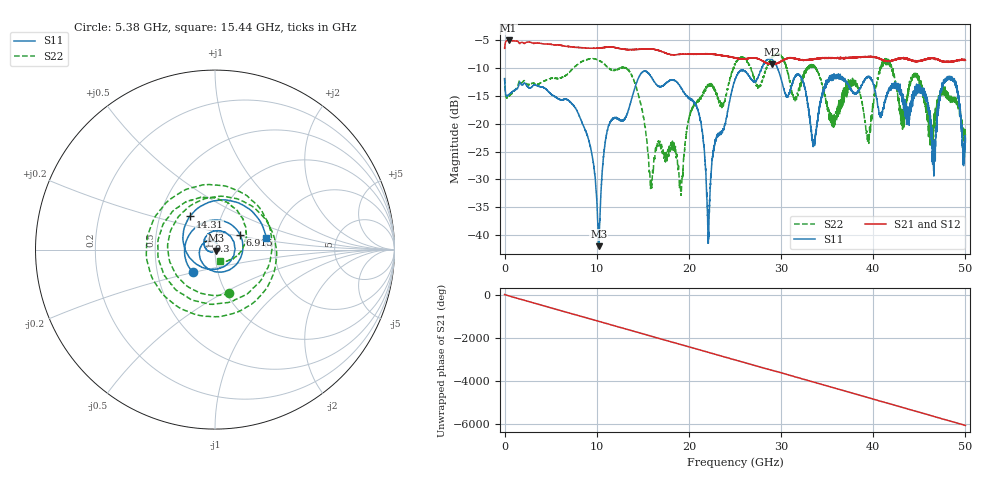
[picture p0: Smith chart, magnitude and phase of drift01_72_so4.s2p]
!Created with skrf (http://scikit-rf.org).
# Hz S RI R 50.0
!freq ReS11 ImS11 ReS21 ImS21 ReS12 ImS12 ReS22 ImS22
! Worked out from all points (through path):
!   10001 points, 300 kHz to 50 GHz, reference 50 ohm
!   highest |S21| = -5.05 dB at 425.3 MHz (marker M1); lowest = -9.4 dB at 29.03 GHz (marker M2)
!   group delay of S21, straight-line fit = 336 ps
!   lowest |S11| = -42.0 dB at 10.23 GHz (marker M3), VSWR 1.02, Z = 50.5 - j0.631 ohm
!   |S11| at or under -10 dB: start of sweep to 27.9 GHz; 29.6 GHz to end of sweep
!   |S22| runs from -32.9 to -7.4 dB; largest |S21 - S12| = 0.014
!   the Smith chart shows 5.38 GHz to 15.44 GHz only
!   S11 on the Smith chart (normalised r, x): 5.38 GHz: 0.76, -0.19; 6.915 GHz: 1.30, +0.22; 9.3 GHz: 0.93, +0.09; 14.31 GHz: 0.71, +0.28; 15.44 GHz: 1.77, +0.25
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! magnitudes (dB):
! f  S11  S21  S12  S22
! 300 kHz  -11.9  -6.5  -6.5  -11.8
! 425.3 MHz  -14.8  -5.1  -5.1  -15.1
! 5.38 GHz  -15.1  -5.9  -5.8  -11.8
! 6.915 GHz  -15.8  -6.1  -6.1  -11.0
! 8.335 GHz  -19.5  -6.3  -6.3  -8.9
! 9.3 GHz  -24.2  -6.4  -6.4  -8.4
! 10.23 GHz  -42.0  -6.4  -6.4  -8.6
! 11.23 GHz  -20.7  -6.2  -6.2  -9.9
! 14.31 GHz  -12.7  -6.6  -6.7  -13.6
! 15.44 GHz  -10.7  -6.6  -6.6  -23.0
! 16.67 GHz  -13.3  -6.8  -6.8  -23.3
! 19.15 GHz  -13.5  -7.5  -7.5  -32.6
! 20.86 GHz  -17.1  -7.6  -7.5  -16.1
! 22.12 GHz  -40.8  -7.4  -7.4  -13.3
! 25 GHz  -12.1  -8.2  -8.2  -9.4
! 29.03 GHz  -8.5  -9.4  -9.4  -8.1
! 33.34 GHz  -22.4  -8.5  -8.4  -9.7
! 39.46 GHz  -11.5  -7.9  -8.0  -22.0
! 41.67 GHz  -13.8  -8.7  -8.7  -9.2
! 46.55 GHz  -26.0  -8.2  -8.2  -20.4
! 48.55 GHz  -11.6  -8.9  -8.9  -15.9
! 50 GHz  -23.3  -8.6  -8.6  -23.0
